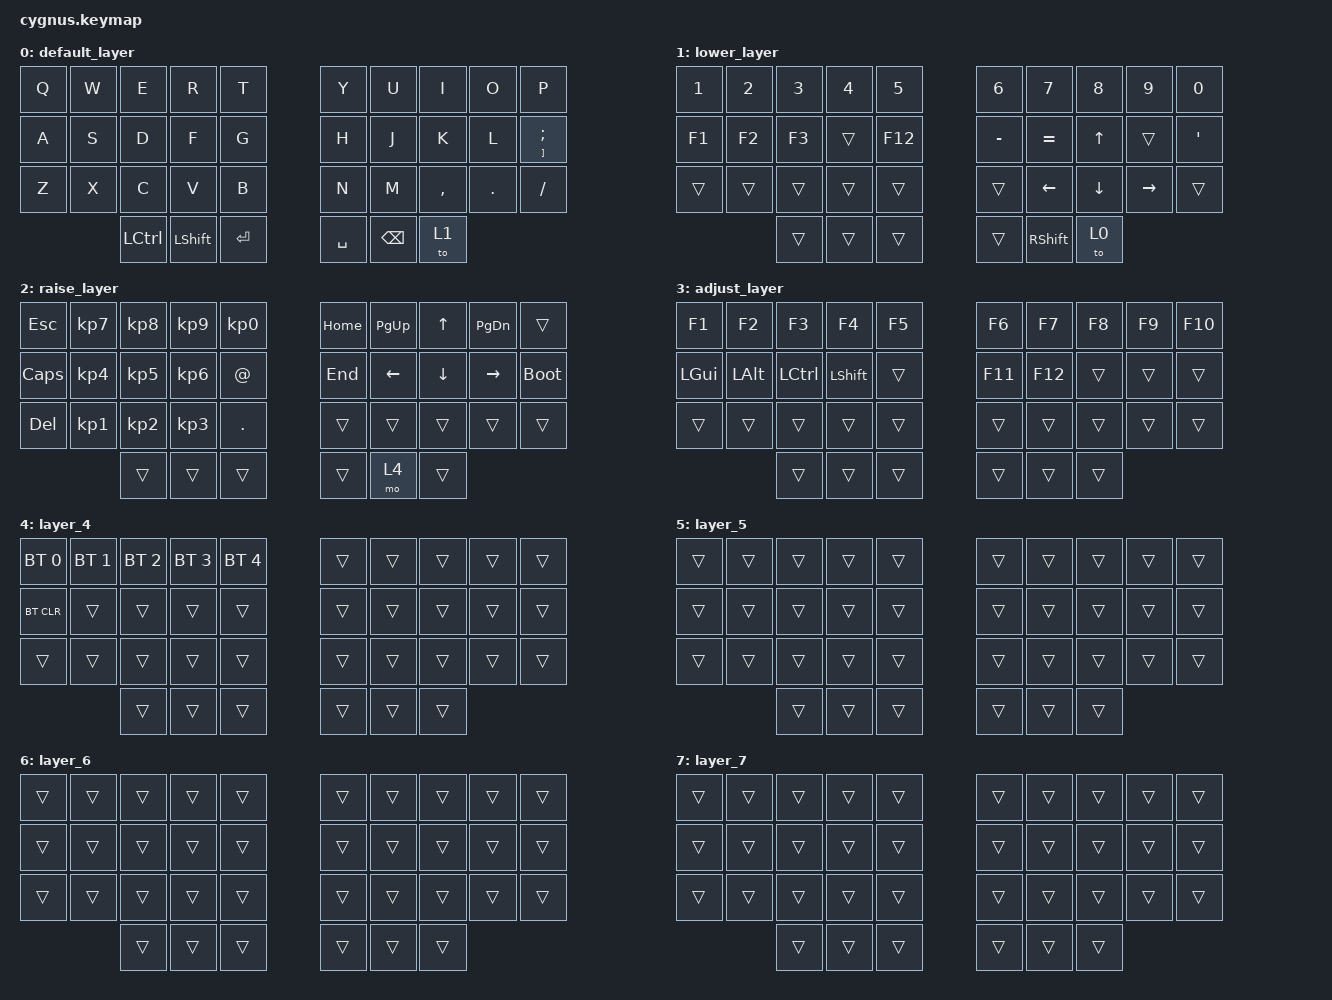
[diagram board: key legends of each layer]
/*
 * Copyright (c) 2020 The ZMK Contributors
 *
 * SPDX-License-Identifier: MIT
 */

#include <behaviors.dtsi>
#include <dt-bindings/zmk/bt.h>
#include <dt-bindings/zmk/keys.h>

&mt {
    tapping-term-ms = <200>;
    flavor = "tap-preferred";
};

&sk {
    release-after-ms = <2000>;
    quick-release;
};

/ {
    combos {
        compatible = "zmk,combos";

        left_bkt {
            bindings = <&kp LBKT>;
            key-positions = <3 2>;
            timeout-ms = <50>;
        };

        right_bkt {
            bindings = <&kp RBKT>;
            key-positions = <6 7>;
            timeout-ms = <50>;
        };

        left_par {
            bindings = <&kp LEFT_PARENTHESIS>;
            key-positions = <12 13>;
            timeout-ms = <50>;
        };

        right_par {
            bindings = <&kp RIGHT_PARENTHESIS>;
            key-positions = <16 17>;
            timeout-ms = <50>;
        };

        left_brace {
            bindings = <&kp LEFT_BRACE>;
            key-positions = <23 22>;
            timeout-ms = <50>;
        };

        right_brace {
            bindings = <&kp RIGHT_BRACE>;
            key-positions = <26 27>;
            timeout-ms = <50>;
        };

        bac {
            bindings = <&kp BACKSLASH>;
            key-positions = <4 5>;
        };

        pipe {
            bindings = <&kp PIPE>;
            key-positions = <14 15>;
        };

        k1 {
            bindings = <&kp NUMBER_1>;
            key-positions = <0 35>;
        };

        k2 {
            bindings = <&kp NUMBER_2>;
            key-positions = <35 1>;
        };

        k3 {
            bindings = <&kp NUMBER_3>;
            key-positions = <2 35>;
        };

        k4 {
            bindings = <&kp NUMBER_4>;
            key-positions = <3 35>;
        };

        k5 {
            bindings = <&kp NUMBER_5>;
            key-positions = <4 35>;
        };

        k6 {
            bindings = <&kp NUMBER_6>;
            key-positions = <5 35>;
        };

        k7 {
            bindings = <&kp NUMBER_7>;
            key-positions = <35 6>;
        };

        k8 {
            bindings = <&kp NUMBER_8>;
            key-positions = <35 7>;
        };

        k9 {
            bindings = <&kp NUMBER_9>;
            key-positions = <35 7>;
        };

        k0 {
            bindings = <&kp NUMBER_0>;
            key-positions = <9 35>;
        };

        minus {
            bindings = <&kp MINUS>;
            key-positions = <35 15>;
        };

        plus {
            bindings = <&kp EQUAL>;
            key-positions = <35 16>;
        };
    };

    behaviors {
        hm: homerow_mods {
            compatible = "zmk,behavior-hold-tap";
            label = "HOMEROW_MODS";
            #binding-cells = <2>;
            tapping-term-ms = <200>;
            quick_tap_ms = <0>;
            flavor = "tap-preferred";
            bindings = <&kp>, <&kp>;

            quick-tap-ms = <180>;
            global-quick-tap;
        };

        ltq: ltq {
            compatible = "zmk,behavior-hold-tap";
            label = "LTQ";
            #binding-cells = <2>;
            tapping-term-ms = <250>;
            quick_tap_ms = <0>;
            flavor = "hold-preferred";
            bindings = <&mo>, <&kp>;

            quick-tap-ms = <200>;
            global-quick-tap;
        };
    };

    keymap {
        compatible = "zmk,keymap";

        default_layer {
            bindings = <
&kp Q             &kp W                  &kp E             &kp R  &kp T      &kp Y                 &kp U  &kp I      &kp O       &kp P
&kp A             &kp S                  &kp D             &kp F  &kp G      &kp H                 &kp J  &kp K      &kp L       &hm RIGHT_BRACKET SEMI
&kp Z             &kp X                  &kp C             &kp V  &kp B      &kp N                 &kp M  &kp COMMA  &kp PERIOD  &kp FSLH
       &kp LCTRL         &kp LEFT_SHIFT         &kp ENTER         &kp SPACE  &kp BACKSPACE  &to 1
            >;
        };

        lower_layer {
            bindings = <
&kp N1          &kp N2          &kp N3          &kp N4  &kp N5   &kp N6            &kp N7     &kp N8    &kp N9           &kp N0
&kp F1          &kp F2          &kp F3          &trans  &kp F12  &kp MINUS         &kp EQUAL  &kp UP    &trans           &kp SQT
&trans          &trans          &trans          &trans  &trans   &trans            &kp LEFT   &kp DOWN  &kp RIGHT_ARROW  &trans
        &trans          &trans          &trans          &trans   &kp RSHFT  &to 0
            >;
        };

        raise_layer {
            bindings = <
&kp ESC               &kp KP_NUMBER_7          &kp KP_NUMBER_8          &kp KP_NUMBER_9  &kp KP_NUMBER_0  &kp HOME          &kp PAGE_UP     &kp UP    &kp PAGE_DOWN  &trans
&kp CAPSLOCK          &kp KP_NUMBER_4          &kp KP_NUMBER_5          &kp KP_NUMBER_6  &kp AT           &kp END           &kp LEFT_ARROW  &kp DOWN  &kp RIGHT      &bootloader
&kp DEL               &kp KP_N1                &kp KP_NUMBER_2          &kp KP_NUMBER_3  &kp DOT          &trans            &trans          &trans    &trans         &trans
              &trans                   &trans                   &trans                   &trans           &mo 4     &trans
            >;
        };

        adjust_layer {
            bindings = <
&kp F1                &kp F2                &kp F3             &kp F4          &kp F5  &kp F6           &kp F7   &kp F8  &kp F9  &kp F10
&kp LEFT_GUI          &kp LEFT_ALT          &kp LCTRL          &kp LEFT_SHIFT  &trans  &kp F11          &kp F12  &trans  &trans  &trans
&trans                &trans                &trans             &trans          &trans  &trans           &trans   &trans  &trans  &trans
              &trans                &trans             &trans                  &trans  &trans   &trans
            >;
        };

        layer_4 {
            bindings = <
&bt BT_SEL 0          &bt BT_SEL 1          &bt BT_SEL 2          &bt BT_SEL 3  &bt BT_SEL 4  &trans          &trans  &trans  &trans  &trans
&bt BT_CLR            &trans                &trans                &trans        &trans        &trans          &trans  &trans  &trans  &trans
&trans                &trans                &trans                &trans        &trans        &trans          &trans  &trans  &trans  &trans
              &trans                &trans                &trans                &trans        &trans  &trans
            >;
        };

        layer_5 {
            bindings = <
&trans          &trans          &trans          &trans  &trans  &trans          &trans  &trans  &trans  &trans
&trans          &trans          &trans          &trans  &trans  &trans          &trans  &trans  &trans  &trans
&trans          &trans          &trans          &trans  &trans  &trans          &trans  &trans  &trans  &trans
        &trans          &trans          &trans          &trans  &trans  &trans
            >;
        };

        layer_6 {
            bindings = <
&trans          &trans          &trans          &trans  &trans  &trans          &trans  &trans  &trans  &trans
&trans          &trans          &trans          &trans  &trans  &trans          &trans  &trans  &trans  &trans
&trans          &trans          &trans          &trans  &trans  &trans          &trans  &trans  &trans  &trans
        &trans          &trans          &trans          &trans  &trans  &trans
            >;
        };

        layer_7 {
            bindings = <
&trans          &trans          &trans          &trans  &trans  &trans          &trans  &trans  &trans  &trans
&trans          &trans          &trans          &trans  &trans  &trans          &trans  &trans  &trans  &trans
&trans          &trans          &trans          &trans  &trans  &trans          &trans  &trans  &trans  &trans
        &trans          &trans          &trans          &trans  &trans  &trans
            >;
        };
    };
};
